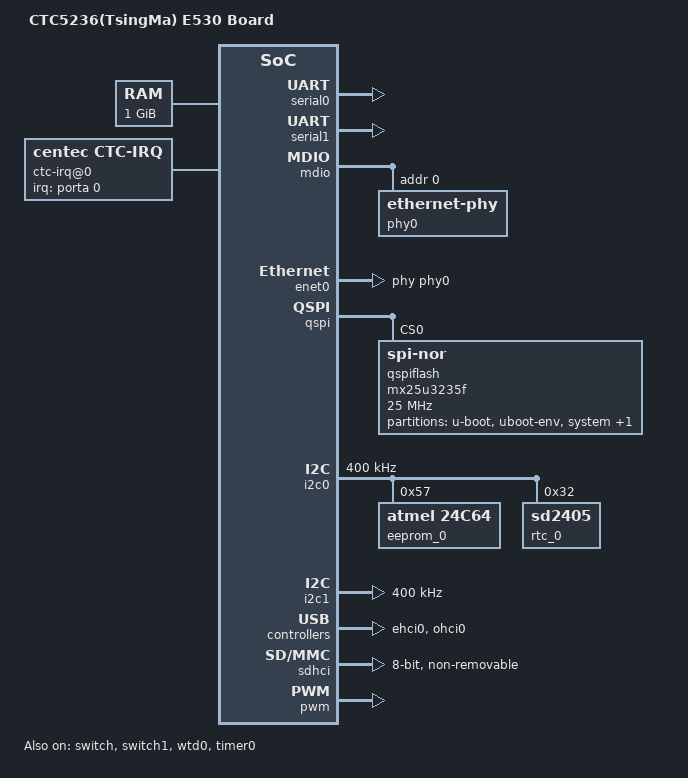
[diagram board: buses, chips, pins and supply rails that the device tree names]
/*
 * dts file for Centec CTC5236(TsingMa) SoC E530-24X2C Board
 *
 * (C) Copyright 2004-2018 Centec Networks (suzhou) Co., LTD.
 *
 * liuht <liuht@centecnetworks.com>
 *
 * This program is free software; you can redistribute it and/or
 * modify it under the terms of the GNU General Public License as
 * published by the Free Software Foundation; either version 2 of
 * the License, or (at your option) any later version.
 */

/dts-v1/;
#include "ctc5236.dtsi"


/ {
	model = " CTC5236(TsingMa) E530 Board";
	compatible = "ctc5236,e530-ctc5236";

	memory {
		device_type = "memory";
		reg = <0 0x80000000 0x0 0x40000000>;
	};

	chosen {
		stdout-path = "serial0:115200n8";
	};

	aliases {
		serial0 = &serial0;
		serial1 = &serial1;
		ethernet0 = &enet0;
		ethernet1 = &enet1;
	};

};

&serial0 {
	status = "okay";
};

&serial1 {
	status = "okay";
};

&mdio {
	status = "okay";
    phy0: ethernet-phy@0 {
		index = <0x00>;
		reg = <0x00>;
    };
};

&enet0 {
	status = "okay";
	phy-handle = <&phy0>;
	auto-nego-mode= "sgmii-mac";
};

&qspi {
	status = "okay";	
		
	qspiflash: mx25u3235f@0 {
		compatible = "jedec,spi-nor";
		reg = <0x0>;
		spi-cpha; 
		spi-cpol;
		spi-max-frequency = <25000000>;
		
		partitions {
			compatible = "fixed-partitions";
			#address-cells = <1>;
			#size-cells = <1>;

			partition@0 {
				label = "u-boot";
				reg = <0x0 0x300000>;
				};
			partition@300000 {
				label = "uboot-env";
				reg = <0x300000 0x10000>;
				};
			partition@310000 {
				label = "system";
				reg = <0x310000 0x10000>;
				};	
            partition@320000 {
                    label = "hw-info";
                    reg = <0x320000 0x10000>;
                };
		};
	};
};

&spi {
	status = "disabled";
	pinctrl-names = "default";
	pinctrl-0 = <&spi_pin>;

        clock0: ad9559@1 {
                compatible = "analog,ad9559";
                reg = <1>;
                spi-max-frequency = <25000000>;
        };
};

&switch {
	status = "okay";
};

&switch1 {
	status = "okay";
};

&i2c0{
	status = "okay";
	clock-frequency = <400000>;
	
	eeprom_0:eeprom_0@57 { 
		compatible = "atmel,24c64";
		reg = <0x57>;
		pagesize = <32>; 
	};
		
	rtc_0:rtc_0@32{
		compatible = "sd2405";
		reg = <0x32>;
	};
};  

&i2c1{
	status = "okay";
	clock-frequency = <400000>;
};  

&ehci0 {
	status = "okay";
};

&ohci0 {
    status = "okay";
};

&wtd0{
	status = "okay";
};

&wtd1{
	status = "disabled";
};

&sdhci {
	bus-width = <8>;
	max-frequency = <100000000>;
	non-removable;
	no-sd;
	no-sdio;
	cap-mmc-hw-reset;
	voltage-ranges = <3300 3300>;	
	status = "okay";
};

&timer0 {
	status = "okay";
};

&soc {
        ctc-irq@0 {
                compatible = "centec,ctc-irq";
                device_type = "ctc-irq";
                interrupt-parent=<&porta>;
                interrupts = < 0 IRQ_TYPE_LEVEL_LOW>,
                	      < 1 IRQ_TYPE_LEVEL_LOW>,
                          <15 IRQ_TYPE_LEVEL_LOW>,
                          < 6 IRQ_TYPE_LEVEL_HIGH>,
                	      < 7 IRQ_TYPE_LEVEL_HIGH>;

        };
};

&pwm {
	pinctrl-names = "default";
	pinctrl-0 = <&pwm0_pin>;
	status = "okay";
};


&pinctrl {
	spi0 {
		spi_pin: spi_pin {
			status = "disabled";
			ctc,pins = <0 0 PIN_FUNC_SPI>,
				   <0 2 PIN_FUNC_SPI>,
				   <0 3 PIN_FUNC_SPI>,
				   <0 5 PIN_FUNC_SPI>;
		};
	};

	pwm0 {
		pwm0_pin: pwm0_pin {
			ctc,pins = <0 8  PIN_FUNC_PWM>,
  				   <0 9  PIN_FUNC_PWM>,
				   <0 10 PIN_FUNC_PWM>,
				   <0 11 PIN_FUNC_PWM>,
				   <0 12 PIN_FUNC_PWM>,
				   <0 13 PIN_FUNC_PWM>,
				   <0 14 PIN_FUNC_PWM>,
				   <0 15 PIN_FUNC_PWM>;
		};
	};
};
